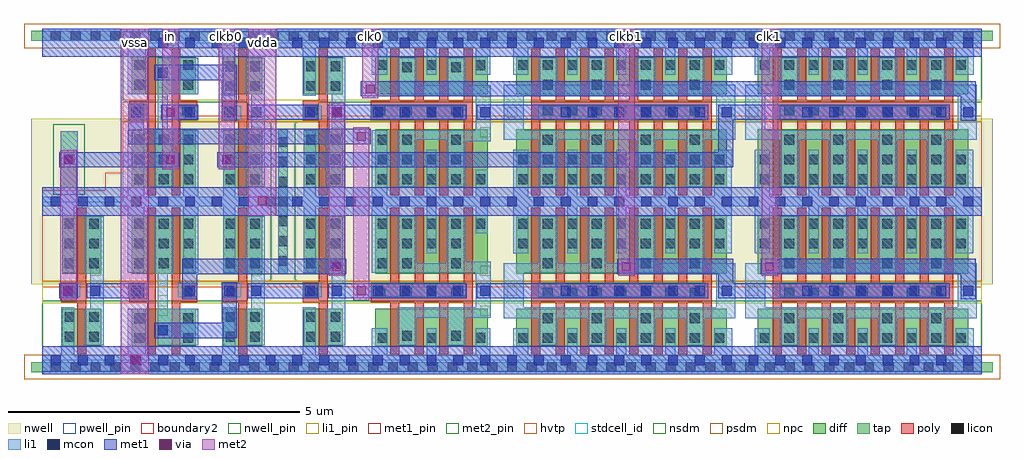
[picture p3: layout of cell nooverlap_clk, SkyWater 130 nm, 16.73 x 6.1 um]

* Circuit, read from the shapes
.subckt nooverlap_clk clk0 clk1 clkb0 clkb1 in vdda vssa
XM1 sky130_fd_sc_hd__nand2_1_1/B in vssa vssa sky130_fd_pr__nfet_01v8 w=0.65 l=0.15
XM2 n1 sky130_fd_sc_hd__nand2_1_1/B vssa vssa sky130_fd_pr__nfet_01v8 w=0.65 l=0.15
XM3 n2 sky130_fd_sc_hd__inv_4_8/A vssa vssa sky130_fd_pr__nfet_01v8 w=0.65 l=0.15
XM4 sky130_fd_sc_hd__inv_1_4/A sky130_fd_sc_hd__inv_4_7/A n1 vssa sky130_fd_pr__nfet_01v8 w=0.65 l=0.15
XM5 sky130_fd_sc_hd__inv_1_3/A in n2 vssa sky130_fd_pr__nfet_01v8 w=0.65 l=0.15
XM6 sky130_fd_sc_hd__inv_1_6/A sky130_fd_sc_hd__inv_1_4/A vssa vssa sky130_fd_pr__nfet_01v8 w=0.65 l=0.15
XM7 sky130_fd_sc_hd__inv_1_5/A sky130_fd_sc_hd__inv_1_3/A vssa vssa sky130_fd_pr__nfet_01v8 w=0.65 l=0.15
XM8 sky130_fd_sc_hd__inv_4_8/A sky130_fd_sc_hd__inv_1_6/A vssa vssa sky130_fd_pr__nfet_01v8 w=0.65 l=0.15
XM9 sky130_fd_sc_hd__inv_4_7/A sky130_fd_sc_hd__inv_1_5/A vssa vssa sky130_fd_pr__nfet_01v8 w=0.65 l=0.15
XM10 sky130_fd_sc_hd__inv_8_10/A sky130_fd_sc_hd__inv_4_8/A vssa vssa sky130_fd_pr__nfet_01v8 w=0.65 l=0.15 m=4
XM11 sky130_fd_sc_hd__inv_8_9/A sky130_fd_sc_hd__inv_4_7/A vssa vssa sky130_fd_pr__nfet_01v8 w=0.65 l=0.15 m=4
XM12 clkb1 sky130_fd_sc_hd__inv_8_10/A vssa vssa sky130_fd_pr__nfet_01v8 w=0.65 l=0.15 m=8
XM13 clkb0 sky130_fd_sc_hd__inv_8_9/A vssa vssa sky130_fd_pr__nfet_01v8 w=0.65 l=0.15 m=8
XM14 clk1 clkb1 vssa vssa sky130_fd_pr__nfet_01v8 w=0.65 l=0.15 m=8
XM15 clk0 clkb0 vssa vssa sky130_fd_pr__nfet_01v8 w=0.65 l=0.15 m=8
XM16 sky130_fd_sc_hd__nand2_1_1/B in vdda vdda sky130_fd_pr__pfet_01v8_hvt w=1 l=0.15
XM17 sky130_fd_sc_hd__inv_1_4/A sky130_fd_sc_hd__nand2_1_1/B vdda vdda sky130_fd_pr__pfet_01v8_hvt w=1 l=0.15
XM18 sky130_fd_sc_hd__inv_1_3/A sky130_fd_sc_hd__inv_4_8/A vdda vdda sky130_fd_pr__pfet_01v8_hvt w=1 l=0.15
XM19 vdda sky130_fd_sc_hd__inv_4_7/A sky130_fd_sc_hd__inv_1_4/A vdda sky130_fd_pr__pfet_01v8_hvt w=1 l=0.15
XM20 vdda in sky130_fd_sc_hd__inv_1_3/A vdda sky130_fd_pr__pfet_01v8_hvt w=1 l=0.15
XM21 sky130_fd_sc_hd__inv_1_6/A sky130_fd_sc_hd__inv_1_4/A vdda vdda sky130_fd_pr__pfet_01v8_hvt w=1 l=0.15
XM22 sky130_fd_sc_hd__inv_1_5/A sky130_fd_sc_hd__inv_1_3/A vdda vdda sky130_fd_pr__pfet_01v8_hvt w=1 l=0.15
XM23 sky130_fd_sc_hd__inv_4_8/A sky130_fd_sc_hd__inv_1_6/A vdda vdda sky130_fd_pr__pfet_01v8_hvt w=1 l=0.15
XM24 sky130_fd_sc_hd__inv_4_7/A sky130_fd_sc_hd__inv_1_5/A vdda vdda sky130_fd_pr__pfet_01v8_hvt w=1 l=0.15
XM25 sky130_fd_sc_hd__inv_8_10/A sky130_fd_sc_hd__inv_4_8/A vdda vdda sky130_fd_pr__pfet_01v8_hvt w=1 l=0.15 m=4
XM26 sky130_fd_sc_hd__inv_8_9/A sky130_fd_sc_hd__inv_4_7/A vdda vdda sky130_fd_pr__pfet_01v8_hvt w=1 l=0.15 m=4
XM27 clkb1 sky130_fd_sc_hd__inv_8_10/A vdda vdda sky130_fd_pr__pfet_01v8_hvt w=1 l=0.15 m=8
XM28 clkb0 sky130_fd_sc_hd__inv_8_9/A vdda vdda sky130_fd_pr__pfet_01v8_hvt w=1 l=0.15 m=8
XM29 clk1 clkb1 vdda vdda sky130_fd_pr__pfet_01v8_hvt w=1 l=0.15 m=8
XM30 clk0 clkb0 vdda vdda sky130_fd_pr__pfet_01v8_hvt w=1 l=0.15 m=8
.ends

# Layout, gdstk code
import gdstk
lib = gdstk.Library(unit=1e-6, precision=1e-09)
def R(c, l, rs):  # rectangles x0, y0, x1, y1
    for r in rs: c.add(gdstk.rectangle(r[:2], r[2:], *l))
def A(c, l, x, y, w, h, nx, ny, dx, dy):  # array of equal rectangles
    R(c, l, [(x+i*dx, y+j*dy, x+i*dx+w, y+j*dy+h) for i in range(nx) for j in range(ny)])
def P(c, l, *ps):  # polygons
    for p in ps: c.add(gdstk.Polygon(p, *l))
nwell_pin = (64, 16)
nwell = (64, 20)
diff = (65, 20)
tap = (65, 44)
poly = (66, 20)
licon = (66, 44)
li1_pin = (67, 16)
li1 = (67, 20)
mcon = (67, 44)
met1_pin = (68, 16)
met1 = (68, 20)
via = (68, 44)
met2_pin = (69, 16)
met2 = (69, 20)
hvtp = (78, 44)
stdcell_id = (81, 4)
nsdm = (93, 44)
psdm = (94, 20)
npc = (95, 20)
pwell_pin = (122, 16)
boundary2 = (236, 0)

sky130_fd_sc_hd__nand2_1 = lib.new_cell('sky130_fd_sc_hd__nand2_1')
R(sky130_fd_sc_hd__nand2_1, nwell_pin, [(0.14,2.635,0.31,2.805)])
R(sky130_fd_sc_hd__nand2_1, nwell, [(-0.19,1.305,1.57,2.91)])
R(sky130_fd_sc_hd__nand2_1, diff, [(0.155,0.235,1.245,0.885), (0.155,1.485,1.245,2.485)])
P(sky130_fd_sc_hd__nand2_1, poly, [(1.275,1.325),(0.985,1.325),(0.985,2.615),(0.835,2.615),(0.835,0.105),(0.985,0.105),(0.985,0.995),(1.275,0.995)],
  [(0.565,2.615),(0.415,2.615),(0.415,1.325),(0.105,1.325),(0.105,0.995),(0.415,0.995),(0.415,0.105),(0.565,0.105)])
A(sky130_fd_sc_hd__nand2_1, licon, 0.195, 1.575, 0.17, 0.17, 3, 3, 0.42, 0.34)
R(sky130_fd_sc_hd__nand2_1, licon, [(0.195,0.295,0.365,0.465), (1.035,0.295,1.205,0.465), (0.195,0.635,0.365,0.805), (1.035,0.635,1.205,0.805), (0.18,1.075,0.35,1.245), (1.02,1.075,1.19,1.245)])
A(sky130_fd_sc_hd__nand2_1, li1_pin, 0.14, 1.105, 0.17, 0.17, 3, 1, 0.46, 0)
R(sky130_fd_sc_hd__nand2_1, li1_pin, [(0.6,0.425,0.77,0.595), (0.6,0.765,0.77,0.935)])
R(sky130_fd_sc_hd__nand2_1, li1, [(0.095,1.055,0.43,1.325), (0.94,1.075,1.275,1.325)])
P(sky130_fd_sc_hd__nand2_1, li1, [(1.38,0.085),(0.395,0.085),(0.395,0.885),(0.085,0.885),(0.085,0.085),(0,0.085),(0,-0.085),(1.38,-0.085)],
  [(1.38,2.805),(0,2.805),(0,2.635),(0.085,2.635),(0.085,1.495),(0.365,1.495),(0.365,2.635),(1.035,2.635),(1.035,1.495),(1.295,1.495),(1.295,2.635),(1.38,2.635)],
  [(1.295,0.885),(0.77,0.885),(0.77,1.485),(0.865,1.485),(0.865,2.465),(0.535,2.465),(0.535,1.485),(0.6,1.485),(0.6,0.255),(1.295,0.255)])
A(sky130_fd_sc_hd__nand2_1, mcon, 0.145, -0.085, 0.17, 0.17, 3, 2, 0.46, 2.72)
R(sky130_fd_sc_hd__nand2_1, met1_pin, [(0.14,-0.085,0.31,0.085), (0.14,2.635,0.31,2.805)])
R(sky130_fd_sc_hd__nand2_1, hvtp, [(0,1.25,1.38,2.72)])
R(sky130_fd_sc_hd__nand2_1, stdcell_id, [(0,0,1.38,2.72)])
R(sky130_fd_sc_hd__nand2_1, nsdm, [(0,-0.19,1.38,1.015)])
R(sky130_fd_sc_hd__nand2_1, psdm, [(0,1.355,1.38,2.91)])
R(sky130_fd_sc_hd__nand2_1, npc, [(0,0.975,1.38,1.345)])
R(sky130_fd_sc_hd__nand2_1, pwell_pin, [(0.14,-0.085,0.31,0.085)])
R(sky130_fd_sc_hd__nand2_1, boundary2, [(0,0,1.38,2.72)])
sky130_fd_sc_hd__nand2_1.add(gdstk.FlexPath([(0,2.72),(1.38,2.72)], 0.48, ends="flush", simple_path=True, layer=68, datatype=20))  # met1
sky130_fd_sc_hd__nand2_1.add(gdstk.FlexPath([(0,0),(1.38,0)], 0.48, ends="flush", simple_path=True, layer=68, datatype=20))  # met1
sky130_fd_sc_hd__nand2_1.add(gdstk.Label('Y', (0.685,0.51), layer=67, texttype=5))
sky130_fd_sc_hd__nand2_1.add(gdstk.Label('Y', (0.685,0.85), layer=67, texttype=5))
sky130_fd_sc_hd__nand2_1.add(gdstk.Label('Y', (0.685,1.19), layer=67, texttype=5))
sky130_fd_sc_hd__nand2_1.add(gdstk.Label('B', (0.225,1.19), layer=67, texttype=5))
sky130_fd_sc_hd__nand2_1.add(gdstk.Label('A', (1.145,1.19), layer=67, texttype=5))
sky130_fd_sc_hd__nand2_1.add(gdstk.Label('VPB', (0.225,2.72), layer=64, texttype=5))
sky130_fd_sc_hd__nand2_1.add(gdstk.Label('VNB', (0.225,0), layer=64, texttype=59))
sky130_fd_sc_hd__nand2_1.add(gdstk.Label('VGND', (0.23,0), layer=68, texttype=5))
sky130_fd_sc_hd__nand2_1.add(gdstk.Label('VPWR', (0.225,2.72), layer=68, texttype=5))
sky130_fd_sc_hd__nand2_1.add(gdstk.Label('nand2_1', (0,0), layer=83, texttype=44))

sky130_fd_sc_hd__inv_1 = lib.new_cell('sky130_fd_sc_hd__inv_1')
R(sky130_fd_sc_hd__inv_1, nwell_pin, [(0.145,2.635,0.315,2.805), (0.145,2.635,0.315,2.805)])
R(sky130_fd_sc_hd__inv_1, nwell, [(-0.19,1.305,1.57,2.91)])
R(sky130_fd_sc_hd__inv_1, diff, [(0.34,0.235,1.01,0.885), (0.34,1.485,1.01,2.485)])
P(sky130_fd_sc_hd__inv_1, poly, [(0.75,2.615),(0.6,2.615),(0.6,1.325),(0.32,1.325),(0.32,0.995),(0.6,0.995),(0.6,0.105),(0.75,0.105)])
A(sky130_fd_sc_hd__inv_1, licon, 0.38, 1.575, 0.17, 0.17, 1, 3, 0, 0.34)
A(sky130_fd_sc_hd__inv_1, licon, 0.8, 1.575, 0.17, 0.17, 1, 3, 0, 0.34)
R(sky130_fd_sc_hd__inv_1, licon, [(0.38,0.315,0.55,0.485), (0.8,0.315,0.97,0.485), (0.38,0.655,0.55,0.825), (0.8,0.655,0.97,0.825), (0.4,1.075,0.57,1.245)])
R(sky130_fd_sc_hd__inv_1, li1_pin, [(0.36,1.105,0.53,1.275), (0.82,1.105,0.99,1.275), (0.82,1.445,0.99,1.615)])
R(sky130_fd_sc_hd__inv_1, li1, [(0,-0.085,1.38,0.085), (0.32,0.005,0.55,0.905), (0.32,1.075,0.65,1.315), (0.34,1.495,0.55,2.675), (0,2.635,1.38,2.805)])
P(sky130_fd_sc_hd__inv_1, li1, [(1.05,2.465),(0.72,2.465),(0.72,1.485),(0.82,1.485),(0.82,0.885),(0.72,0.885),(0.72,0.255),(1.05,0.255)])
A(sky130_fd_sc_hd__inv_1, mcon, 0.145, -0.085, 0.17, 0.17, 3, 2, 0.46, 2.72)
R(sky130_fd_sc_hd__inv_1, met1_pin, [(0.145,-0.085,0.315,0.085), (0.145,-0.085,0.315,0.085), (0.145,2.635,0.315,2.805), (0.145,2.635,0.315,2.805)])
R(sky130_fd_sc_hd__inv_1, hvtp, [(0,1.25,1.38,2.72)])
R(sky130_fd_sc_hd__inv_1, stdcell_id, [(0,0,1.38,2.72)])
R(sky130_fd_sc_hd__inv_1, nsdm, [(0,-0.19,1.38,1.015)])
R(sky130_fd_sc_hd__inv_1, psdm, [(0,1.355,1.38,2.91)])
R(sky130_fd_sc_hd__inv_1, npc, [(0,0.975,1.38,1.345)])
R(sky130_fd_sc_hd__inv_1, pwell_pin, [(0.145,-0.085,0.315,0.085), (0.145,-0.085,0.315,0.085)])
R(sky130_fd_sc_hd__inv_1, boundary2, [(0,0,1.38,2.72)])
sky130_fd_sc_hd__inv_1.add(gdstk.FlexPath([(0,2.72),(1.38,2.72)], 0.48, ends="flush", simple_path=True, layer=68, datatype=20))  # met1
sky130_fd_sc_hd__inv_1.add(gdstk.FlexPath([(0,0),(1.38,0)], 0.48, ends="flush", simple_path=True, layer=68, datatype=20))  # met1
sky130_fd_sc_hd__inv_1.add(gdstk.Label('Y', (0.905,1.53), layer=67, texttype=5))
sky130_fd_sc_hd__inv_1.add(gdstk.Label('Y', (0.905,1.19), layer=67, texttype=5))
sky130_fd_sc_hd__inv_1.add(gdstk.Label('A', (0.445,1.19), layer=67, texttype=5))
sky130_fd_sc_hd__inv_1.add(gdstk.Label('VPB', (0.23,2.72), layer=64, texttype=5))
sky130_fd_sc_hd__inv_1.add(gdstk.Label('VNB', (0.23,0), layer=64, texttype=59))
sky130_fd_sc_hd__inv_1.add(gdstk.Label('VGND', (0.23,0), layer=68, texttype=5))
sky130_fd_sc_hd__inv_1.add(gdstk.Label('VPWR', (0.23,2.72), layer=68, texttype=5))
sky130_fd_sc_hd__inv_1.add(gdstk.Label('inv_1', (0,0), layer=83, texttype=44))

sky130_fd_sc_hd__inv_4 = lib.new_cell('sky130_fd_sc_hd__inv_4')
R(sky130_fd_sc_hd__inv_4, nwell_pin, [(0.145,2.635,0.315,2.805)])
R(sky130_fd_sc_hd__inv_4, nwell, [(-0.19,1.305,2.49,2.91)])
R(sky130_fd_sc_hd__inv_4, diff, [(0.185,0.235,2.115,0.885), (0.185,1.485,2.115,2.485)])
P(sky130_fd_sc_hd__inv_4, poly, [(1.855,2.615),(1.705,2.615),(1.705,1.325),(1.435,1.325),(1.435,2.615),(1.285,2.615),(1.285,1.325),(1.015,1.325),(1.015,2.615),(0.865,2.615),(0.865,1.325),(0.595,1.325),(0.595,2.615),(0.445,2.615),(0.445,1.325),(0.105,1.325),(0.105,0.995),(0.445,0.995),(0.445,0.105),(0.595,0.105),(0.595,0.995),(0.865,0.995),(0.865,0.105),(1.015,0.105),(1.015,0.995),(1.285,0.995),(1.285,0.105),(1.435,0.105),(1.435,0.995),(1.705,0.995),(1.705,0.105),(1.855,0.105)])
A(sky130_fd_sc_hd__inv_4, licon, 0.645, 1.075, 0.17, 0.17, 3, 1, 0.42, 0)
A(sky130_fd_sc_hd__inv_4, licon, 0.225, 1.915, 0.17, 0.17, 4, 1, 0.42, 0)
A(sky130_fd_sc_hd__inv_4, licon, 0.225, 2.255, 0.17, 0.17, 5, 1, 0.42, 0)
R(sky130_fd_sc_hd__inv_4, licon, [(0.225,0.295,0.395,0.465), (1.065,0.295,1.235,0.465), (1.905,0.3,2.075,0.47), (0.645,0.335,0.815,0.505), (1.485,0.335,1.655,0.505), (0.185,1.075,0.355,1.245), (0.225,1.575,0.395,1.745), (0.645,1.575,0.815,1.745), (1.485,1.575,1.655,1.745)])
A(sky130_fd_sc_hd__inv_4, li1_pin, 0.145, 1.105, 0.17, 0.17, 5, 1, 0.46, 0)
R(sky130_fd_sc_hd__inv_4, li1_pin, [(1.985,0.765,2.155,0.935), (1.985,1.445,2.155,1.615)])
R(sky130_fd_sc_hd__inv_4, li1, [(0.105,1.075,1.735,1.325)])
P(sky130_fd_sc_hd__inv_4, li1, [(2.3,0.085),(2.155,0.085),(2.155,0.55),(1.905,0.55),(1.905,0.085),(1.235,0.085),(1.235,0.545),(1.065,0.545),(1.065,0.085),(0.395,0.085),(0.395,0.545),(0.13,0.545),(0.13,0.085),(0,0.085),(0,-0.085),(2.3,-0.085)],
  [(2.3,2.805),(0,2.805),(0,2.635),(0.13,2.635),(0.13,1.495),(0.395,1.495),(0.395,2.635),(1.065,2.635),(1.065,1.835),(1.235,1.835),(1.235,2.635),(1.905,2.635),(1.905,2.175),(2.115,2.175),(2.115,2.635),(2.3,2.635)],
  [(2.17,1.685),(1.735,1.685),(1.735,2.465),(1.405,2.465),(1.405,1.665),(0.895,1.665),(0.895,2.465),(0.565,2.465),(0.565,1.495),(1.905,1.495),(1.905,0.905),(0.565,0.905),(0.565,0.255),(0.895,0.255),(0.895,0.725),(1.405,0.725),(1.405,0.255),(1.735,0.255),(1.735,0.725),(2.17,0.725)])
A(sky130_fd_sc_hd__inv_4, mcon, 0.145, -0.085, 0.17, 0.17, 5, 2, 0.46, 2.72)
R(sky130_fd_sc_hd__inv_4, met1_pin, [(0.145,-0.085,0.315,0.085), (0.145,2.635,0.315,2.805)])
R(sky130_fd_sc_hd__inv_4, hvtp, [(0,1.25,2.3,2.72)])
R(sky130_fd_sc_hd__inv_4, stdcell_id, [(0,0,2.3,2.72)])
R(sky130_fd_sc_hd__inv_4, nsdm, [(0,-0.19,2.3,1.015)])
R(sky130_fd_sc_hd__inv_4, psdm, [(0,1.355,2.3,2.91)])
R(sky130_fd_sc_hd__inv_4, npc, [(0,0.975,2.3,1.345)])
R(sky130_fd_sc_hd__inv_4, pwell_pin, [(0.145,-0.085,0.315,0.085)])
R(sky130_fd_sc_hd__inv_4, boundary2, [(0,0,2.3,2.72)])
sky130_fd_sc_hd__inv_4.add(gdstk.FlexPath([(0,2.72),(2.3,2.72)], 0.48, ends="flush", simple_path=True, layer=68, datatype=20))  # met1
sky130_fd_sc_hd__inv_4.add(gdstk.FlexPath([(0,0),(2.3,0)], 0.48, ends="flush", simple_path=True, layer=68, datatype=20))  # met1
sky130_fd_sc_hd__inv_4.add(gdstk.Label('Y', (2.07,0.85), layer=67, texttype=5))
sky130_fd_sc_hd__inv_4.add(gdstk.Label('Y', (2.07,1.19), layer=67, texttype=5))
sky130_fd_sc_hd__inv_4.add(gdstk.Label('Y', (2.07,1.53), layer=67, texttype=5))
sky130_fd_sc_hd__inv_4.add(gdstk.Label('A', (0.23,1.19), layer=67, texttype=5))
sky130_fd_sc_hd__inv_4.add(gdstk.Label('A', (0.69,1.19), layer=67, texttype=5))
sky130_fd_sc_hd__inv_4.add(gdstk.Label('A', (1.15,1.19), layer=67, texttype=5))
sky130_fd_sc_hd__inv_4.add(gdstk.Label('A', (1.61,1.19), layer=67, texttype=5))
sky130_fd_sc_hd__inv_4.add(gdstk.Label('VPB', (0.23,2.72), layer=64, texttype=5))
sky130_fd_sc_hd__inv_4.add(gdstk.Label('VNB', (0.23,0), layer=64, texttype=59))
sky130_fd_sc_hd__inv_4.add(gdstk.Label('VPWR', (0.23,2.72), layer=68, texttype=5))
sky130_fd_sc_hd__inv_4.add(gdstk.Label('VGND', (0.23,0), layer=68, texttype=5))
sky130_fd_sc_hd__inv_4.add(gdstk.Label('inv_4', (0,0), layer=83, texttype=44))

sky130_fd_sc_hd__inv_8 = lib.new_cell('sky130_fd_sc_hd__inv_8')
R(sky130_fd_sc_hd__inv_8, nwell_pin, [(0.145,2.635,0.315,2.805)])
R(sky130_fd_sc_hd__inv_8, nwell, [(-0.19,1.305,4.33,2.91)])
R(sky130_fd_sc_hd__inv_8, diff, [(0.3,0.235,3.91,0.885), (0.3,1.485,3.91,2.485)])
P(sky130_fd_sc_hd__inv_8, poly, [(3.65,2.615),(3.5,2.615),(3.5,1.325),(3.23,1.325),(3.23,2.615),(3.08,2.615),(3.08,1.325),(2.81,1.325),(2.81,2.615),(2.66,2.615),(2.66,1.325),(2.39,1.325),(2.39,2.615),(2.24,2.615),(2.24,1.325),(1.97,1.325),(1.97,2.615),(1.82,2.615),(1.82,1.325),(1.55,1.325),(1.55,2.615),(1.4,2.615),(1.4,1.325),(1.13,1.325),(1.13,2.615),(0.98,2.615),(0.98,1.325),(0.71,1.325),(0.71,2.615),(0.56,2.615),(0.56,0.105),(0.71,0.105),(0.71,0.995),(0.98,0.995),(0.98,0.105),(1.13,0.105),(1.13,0.995),(1.4,0.995),(1.4,0.105),(1.55,0.105),(1.55,0.995),(1.82,0.995),(1.82,0.105),(1.97,0.105),(1.97,0.995),(2.24,0.995),(2.24,0.105),(2.39,0.105),(2.39,0.995),(2.66,0.995),(2.66,0.105),(2.81,0.105),(2.81,0.995),(3.08,0.995),(3.08,0.105),(3.23,0.105),(3.23,0.995),(3.5,0.995),(3.5,0.105),(3.65,0.105)])
A(sky130_fd_sc_hd__inv_8, licon, 0.34, 0.295, 0.17, 0.17, 9, 2, 0.42, 1.62)
A(sky130_fd_sc_hd__inv_8, licon, 0.76, 0.635, 0.17, 0.17, 4, 2, 0.84, 0.94)
A(sky130_fd_sc_hd__inv_8, licon, 0.76, 1.075, 0.17, 0.17, 7, 1, 0.42, 0)
A(sky130_fd_sc_hd__inv_8, licon, 0.34, 2.255, 0.17, 0.17, 9, 1, 0.42, 0)
A(sky130_fd_sc_hd__inv_8, li1_pin, 1.065, 1.105, 0.17, 0.17, 7, 1, 0.46, 0)
R(sky130_fd_sc_hd__inv_8, li1_pin, [(0.145,1.105,0.315,1.275)])
R(sky130_fd_sc_hd__inv_8, li1, [(0.68,1.075,3.535,1.325)])
P(sky130_fd_sc_hd__inv_8, li1, [(4.055,1.665),(3.735,1.665),(3.735,0.905),(0.43,0.905),(0.43,1.495),(3.735,1.495),(3.735,1.665),(3.53,1.665),(3.53,2.465),(3.2,2.465),(3.2,1.665),(2.69,1.665),(2.69,2.465),(2.36,2.465),(2.36,1.665),(1.85,1.665),(1.85,2.465),(1.52,2.465),(1.52,1.665),(1.01,1.665),(1.01,2.465),(0.68,2.465),(0.68,1.665),(0.085,1.665),(0.085,0.715),(0.68,0.715),(0.68,0.255),(1.01,0.255),(1.01,0.715),(1.52,0.715),(1.52,0.255),(1.85,0.255),(1.85,0.715),(2.36,0.715),(2.36,0.255),(2.69,0.255),(2.69,0.715),(3.2,0.715),(3.2,0.255),(3.53,0.255),(3.53,0.715),(4.055,0.715)],
  [(4.14,0.085),(4.005,0.085),(4.005,0.545),(3.7,0.545),(3.7,0.085),(3.03,0.085),(3.03,0.545),(2.86,0.545),(2.86,0.085),(2.19,0.085),(2.19,0.545),(2.02,0.545),(2.02,0.085),(1.35,0.085),(1.35,0.545),(1.18,0.545),(1.18,0.085),(0.51,0.085),(0.51,0.545),(0.255,0.545),(0.255,0.085),(0,0.085),(0,-0.085),(4.14,-0.085)],
  [(4.14,2.805),(0,2.805),(0,2.635),(0.255,2.635),(0.255,1.835),(0.51,1.835),(0.51,2.635),(1.18,2.635),(1.18,1.835),(1.35,1.835),(1.35,2.635),(2.02,2.635),(2.02,1.835),(2.19,1.835),(2.19,2.635),(2.86,2.635),(2.86,1.835),(3.03,1.835),(3.03,2.635),(3.7,2.635),(3.7,1.835),(4,1.835),(4,2.635),(4.14,2.635)])
A(sky130_fd_sc_hd__inv_8, mcon, 0.145, -0.085, 0.17, 0.17, 9, 2, 0.46, 2.72)
R(sky130_fd_sc_hd__inv_8, met1_pin, [(0.145,-0.085,0.315,0.085), (0.145,2.635,0.315,2.805)])
R(sky130_fd_sc_hd__inv_8, hvtp, [(0,1.25,4.14,2.72)])
R(sky130_fd_sc_hd__inv_8, stdcell_id, [(0,0,4.14,2.72)])
R(sky130_fd_sc_hd__inv_8, nsdm, [(0,-0.19,4.14,1.015)])
R(sky130_fd_sc_hd__inv_8, psdm, [(0,1.355,4.14,2.91)])
R(sky130_fd_sc_hd__inv_8, npc, [(0,0.975,4.14,1.345)])
R(sky130_fd_sc_hd__inv_8, pwell_pin, [(0.145,-0.085,0.315,0.085)])
R(sky130_fd_sc_hd__inv_8, boundary2, [(0,0,4.14,2.72)])
sky130_fd_sc_hd__inv_8.add(gdstk.FlexPath([(0,2.72),(4.14,2.72)], 0.48, ends="flush", simple_path=True, layer=68, datatype=20))  # met1
sky130_fd_sc_hd__inv_8.add(gdstk.FlexPath([(0,0),(4.14,0)], 0.48, ends="flush", simple_path=True, layer=68, datatype=20))  # met1
sky130_fd_sc_hd__inv_8.add(gdstk.Label('A', (1.15,1.19), layer=67, texttype=5))
sky130_fd_sc_hd__inv_8.add(gdstk.Label('A', (1.61,1.19), layer=67, texttype=5))
sky130_fd_sc_hd__inv_8.add(gdstk.Label('A', (2.07,1.19), layer=67, texttype=5))
sky130_fd_sc_hd__inv_8.add(gdstk.Label('A', (2.53,1.19), layer=67, texttype=5))
sky130_fd_sc_hd__inv_8.add(gdstk.Label('A', (2.99,1.19), layer=67, texttype=5))
sky130_fd_sc_hd__inv_8.add(gdstk.Label('A', (3.45,1.19), layer=67, texttype=5))
sky130_fd_sc_hd__inv_8.add(gdstk.Label('Y', (3.91,1.19), layer=67, texttype=5))
sky130_fd_sc_hd__inv_8.add(gdstk.Label('Y', (0.23,1.19), layer=67, texttype=5))
sky130_fd_sc_hd__inv_8.add(gdstk.Label('VNB', (0.23,0), layer=64, texttype=59))
sky130_fd_sc_hd__inv_8.add(gdstk.Label('VPB', (0.23,2.72), layer=64, texttype=5))
sky130_fd_sc_hd__inv_8.add(gdstk.Label('VGND', (0.23,0), layer=68, texttype=5))
sky130_fd_sc_hd__inv_8.add(gdstk.Label('VPWR', (0.23,2.72), layer=68, texttype=5))
sky130_fd_sc_hd__inv_8.add(gdstk.Label('inv_8', (0,0), layer=83, texttype=44))

nooverlap_clk = lib.new_cell('nooverlap_clk')
R(nooverlap_clk, nwell, [(-2.81,-2.365,13.67,0.445), (-2.81,0.445,0.035,0.46), (0.065,0.445,13.67,0.46)])
R(nooverlap_clk, tap, [(-2.81,-3.88,13.67,-3.71), (1.42,-2.19,1.59,0.28), (-2.305,-0.715,-2.015,0.245), (-2.81,1.8,13.67,1.97)])
A(nooverlap_clk, licon, -2.475, -3.88, 0.17, 0.17, 47, 2, 0.34, 5.68)
A(nooverlap_clk, licon, 1.42, -2.06, 0.17, 0.17, 1, 7, 0, 0.34)
R(nooverlap_clk, licon, [(-2.245,-0.315,-2.075,-0.145)])
A(nooverlap_clk, li1, 3.045, -2.57, 0.17, 0.17, 5, 2, 0.46, 3.06)
A(nooverlap_clk, li1, 6.265, -2.57, 0.17, 0.17, 7, 2, 0.46, 3.06)
A(nooverlap_clk, li1, 10.405, -2.57, 0.17, 0.17, 7, 2, 0.46, 3.06)
R(nooverlap_clk, li1, [(-2.62,-3.88,13.48,-3.71), (-0.64,-3.25,-0.47,-3.08), (-2.26,-2.57,-2.09,-2.4), (-1.8,-2.57,-1.63,-2.4), (-1.1,-2.57,-0.93,-2.4), (-0.18,-2.57,-0.01,-2.4), (0.5,-2.57,0.67,-2.4), (0.96,-2.57,1.13,-2.4), (1.88,-2.57,2.05,-2.4), (2.34,-2.57,2.51,-2.4), (1.42,-2.19,1.59,0.28), (-2.305,-0.91,-2.015,0.245), (-1.1,0.49,-0.93,0.66), (-0.18,0.49,-0.01,0.66), (0.5,0.49,0.67,0.66), (0.96,0.49,1.13,0.66), (1.88,0.49,2.05,0.66), (2.34,0.49,2.51,0.66), (-0.64,1.17,-0.47,1.34), (-2.62,1.8,13.48,1.97)])
A(nooverlap_clk, mcon, 3.045, -2.57, 0.17, 0.17, 5, 2, 0.46, 3.06)
A(nooverlap_clk, mcon, 6.265, -2.57, 0.17, 0.17, 7, 2, 0.46, 3.06)
A(nooverlap_clk, mcon, 10.405, -2.57, 0.17, 0.17, 7, 2, 0.46, 3.06)
R(nooverlap_clk, mcon, [(-0.64,-3.25,-0.47,-3.08), (-2.26,-2.57,-2.09,-2.4), (-1.8,-2.57,-1.63,-2.4), (-1.1,-2.57,-0.93,-2.4), (-0.18,-2.57,-0.01,-2.4), (0.5,-2.57,0.67,-2.4), (0.96,-2.57,1.13,-2.4), (1.88,-2.57,2.05,-2.4), (2.34,-2.57,2.51,-2.4), (-1.1,0.49,-0.93,0.66), (-0.18,0.49,-0.01,0.66), (0.5,0.49,0.67,0.66), (0.96,0.49,1.13,0.66), (1.88,0.49,2.05,0.66), (2.34,0.49,2.51,0.66), (-0.64,1.17,-0.47,1.34)])
R(nooverlap_clk, met1, [(-1.275,-3.885,-0.795,-3.435), (-0.7,-3.295,0.715,-3.035), (0.455,-3.035,0.715,-2.34), (-0.225,-2.63,0.035,-2.2), (13.12,-2.63,13.38,-2.2), (-2.335,-2.615,-2.015,-2.355), (-1.86,-2.615,-0.87,-2.355), (0.9,-2.615,2.11,-2.355), (2.28,-2.615,4.655,-2.355), (4.825,-2.615,8.795,-2.355), (8.965,-2.615,12.935,-2.355), (8.965,-2.355,9.225,-2.2), (-0.225,-2.2,2.585,-1.94), (7.23,-2.2,9.225,-1.94), (9.69,-2.2,13.38,-1.94), (0.91,-1.165,1.39,-0.715), (-2.335,-0.37,-0.265,-0.11), (0.38,-0.37,9.225,-0.11), (8.965,-0.11,9.225,0.445), (-1.145,0.03,3.005,0.29), (-1.145,0.29,-0.885,0.72), (13.12,0.425,13.38,0.845), (0.455,0.43,0.715,1.125), (-0.585,0.445,0.05,0.705), (0.9,0.445,2.11,0.705), (2.265,0.445,4.655,0.705), (4.825,0.445,8.795,0.705), (8.965,0.445,12.935,0.705), (2.84,0.845,13.38,1.105), (-0.7,1.125,0.715,1.385), (-2.62,1.525,-0.795,1.975), (-2.62,1.975,-1.24,2.005)])
R(nooverlap_clk, via, [(-1.11,-3.735,-0.96,-3.585), (-2.25,-2.56,-2.1,-2.41), (2.77,-2.56,2.92,-2.41), (2.35,-2.145,2.5,-1.995), (7.315,-2.145,7.465,-1.995), (9.775,-2.145,9.925,-1.995), (1.075,-1.015,1.225,-0.865), (-2.25,-0.315,-2.1,-0.165), (-0.5,-0.315,-0.35,-0.165), (0.465,-0.315,0.615,-0.165), (2.77,0.085,2.92,0.235), (-0.5,0.5,-0.35,0.65), (2.35,0.5,2.5,0.65), (2.925,0.9,3.075,1.05), (-1.11,1.675,-0.96,1.825)])
R(nooverlap_clk, met2_pin, [(-1.275,1.525,-0.795,2.005), (0.91,1.525,1.39,2.005), (-0.565,1.725,-0.285,2.005), (0.4,1.725,0.68,2.005), (2.86,1.725,3.14,2.005), (7.25,1.725,7.53,2.005), (9.71,1.725,9.99,2.005)])
R(nooverlap_clk, met2, [(-1.275,-3.915,-0.795,2.005), (-2.315,-2.645,-2.035,-0.08), (2.705,-2.645,2.985,0.32), (2.285,-2.23,2.565,0.735), (7.25,-2.23,7.53,2.005), (9.71,-2.23,9.99,2.005), (0.91,-1.195,1.39,2.005), (-0.565,-0.4,-0.285,2.005), (0.4,-0.4,0.68,2.005), (2.86,0.815,3.14,2.005)])
R(nooverlap_clk, hvtp, [(-1.005,-1.01,-0.075,-0.9), (0.56,-1.01,1.07,-0.9), (1.94,-1.01,2.45,-0.9), (3.165,-1.01,4.935,-0.9), (5.58,-1.01,9.03,-0.9), (9.72,-1.01,13.17,-0.9)])
R(nooverlap_clk, nsdm, [(-1.485,-3.565,-1.21,-2.665), (0.13,-3.565,0.355,-2.665), (2.655,-3.565,2.96,-2.665), (5.14,-3.565,5.375,-2.665), (9.235,-3.565,9.515,-2.665), (1.275,-2.68,1.735,-2.665), (0.895,-2.665,2.115,-2.315), (1.275,-2.315,1.735,-2.3), (1.295,-2.3,1.715,0.39), (-2.43,-0.84,-1.89,0.37), (1.275,0.39,1.735,0.405), (0.895,0.405,2.115,0.755), (0.13,0.755,0.355,1.655), (1.275,0.755,1.735,0.77), (2.655,0.755,2.96,1.655), (5.14,0.755,5.375,1.655), (9.235,0.755,9.515,1.655)])
R(nooverlap_clk, psdm, [(-2.935,-4.005,13.795,-3.585), (-1.485,-2.315,-1.21,-1.065), (0.13,-2.315,0.355,-1.065), (2.655,-2.315,2.96,-1.065), (5.14,-2.315,5.375,-1.065), (9.235,-2.315,9.515,-1.065), (-1.54,-1.065,1.275,-0.845), (1.735,-1.065,13.375,-0.845), (-1.54,-0.845,-1.21,-0.465), (0.13,-0.845,0.355,0.405), (2.655,-0.845,2.96,0.405), (5.14,-0.845,5.375,0.405), (9.235,-0.845,9.515,0.405), (-2.935,1.675,13.795,2.095)])
nooverlap_clk.add(gdstk.Reference(sky130_fd_sc_hd__nand2_1, (-1.24,1.765), x_reflection=True))
nooverlap_clk.add(gdstk.Reference(sky130_fd_sc_hd__nand2_1, (-1.24,-3.675)))
nooverlap_clk.add(gdstk.Reference(sky130_fd_sc_hd__inv_1, (-2.62,-3.675)))
nooverlap_clk.add(gdstk.Reference(sky130_fd_sc_hd__inv_1, (0.14,1.765), x_reflection=True))
nooverlap_clk.add(gdstk.Reference(sky130_fd_sc_hd__inv_1, (0.14,-3.675)))
nooverlap_clk.add(gdstk.Reference(sky130_fd_sc_hd__inv_1, (1.52,1.765), x_reflection=True))
nooverlap_clk.add(gdstk.Reference(sky130_fd_sc_hd__inv_1, (1.52,-3.675)))
nooverlap_clk.add(gdstk.Reference(sky130_fd_sc_hd__inv_4, (2.9,1.765), x_reflection=True))
nooverlap_clk.add(gdstk.Reference(sky130_fd_sc_hd__inv_4, (2.9,-3.675)))
nooverlap_clk.add(gdstk.Reference(sky130_fd_sc_hd__inv_8, (5.2,1.765), x_reflection=True))
nooverlap_clk.add(gdstk.Reference(sky130_fd_sc_hd__inv_8, (5.2,-3.675)))
nooverlap_clk.add(gdstk.Reference(sky130_fd_sc_hd__inv_8, (9.34,1.765), x_reflection=True))
nooverlap_clk.add(gdstk.Reference(sky130_fd_sc_hd__inv_8, (9.34,-3.675)))
nooverlap_clk.add(gdstk.Label('vdda', (1.15,1.765), layer=69, texttype=5))
nooverlap_clk.add(gdstk.Label('in', (-0.425,1.865), layer=69, texttype=5))
nooverlap_clk.add(gdstk.Label('vssa', (-1.035,1.765), layer=69, texttype=5))
nooverlap_clk.add(gdstk.Label('clk0', (3,1.865), layer=69, texttype=5))
nooverlap_clk.add(gdstk.Label('clkb0', (0.54,1.865), layer=69, texttype=5))
nooverlap_clk.add(gdstk.Label('clk1', (9.85,1.865), layer=69, texttype=5))
nooverlap_clk.add(gdstk.Label('clkb1', (7.39,1.865), layer=69, texttype=5))

lib.write_gds('nooverlap_clk.gds')
